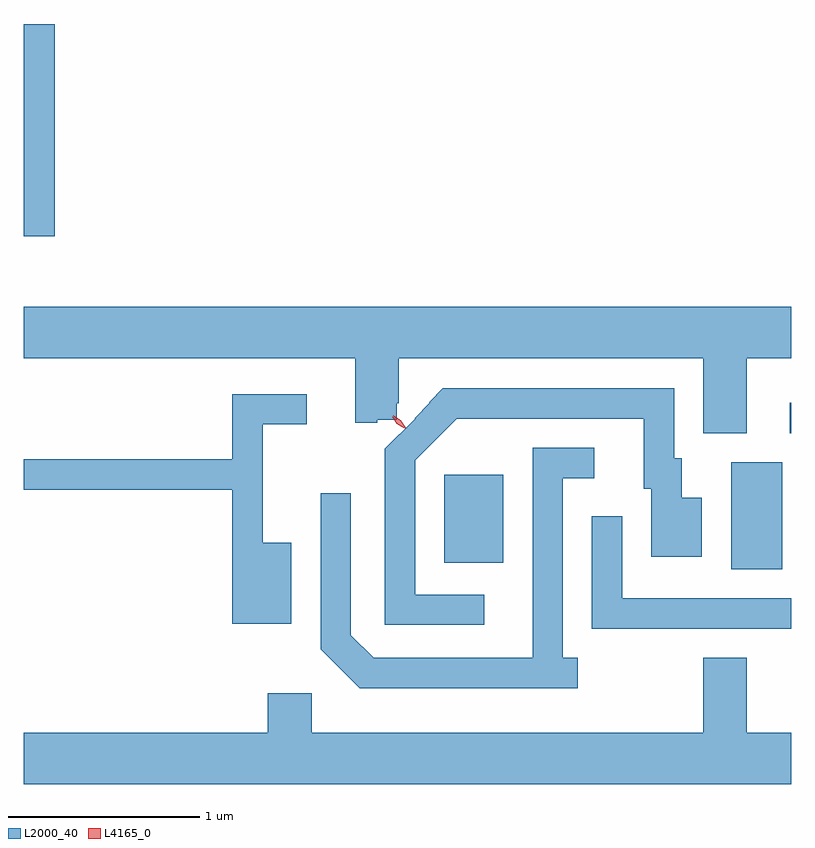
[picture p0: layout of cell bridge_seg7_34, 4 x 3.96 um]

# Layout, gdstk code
import gdstk
lib = gdstk.Library(unit=1e-6, precision=1e-09)
def R(c, l, rs):  # rectangles x0, y0, x1, y1
    for r in rs: c.add(gdstk.rectangle(r[:2], r[2:], *l))
def P(c, l, *ps):  # polygons
    for p in ps: c.add(gdstk.Polygon(p, *l))
L2000_40 = (2000, 40)
L4165_0 = (4165, 0)

bridge_seg7_34 = lib.new_cell('bridge_seg7_34')
R(bridge_seg7_34, L2000_40, [(1730.446,1790.916,1730.714,1791.474), (1728.951,1790.951,1729.259,1791.409), (1730.753,1791.626,1730.759,1791.784), (1726.759,1792.651,1726.919,1793.759)])
P(bridge_seg7_34, L2000_40, [(1730.529,1792.016),(1730.759,1792.016),(1730.759,1792.284),(1726.759,1792.284),(1726.759,1792.016),(1728.486,1792.016),(1728.486,1791.679),(1728.6,1791.679),(1728.6,1791.695),(1728.703,1791.695),(1728.703,1791.782),(1728.714,1791.782),(1728.714,1792.016),(1730.301,1792.016),(1730.301,1791.626),(1730.529,1791.626)],
  [(1729.158,1790.784),(1728.799,1790.784),(1728.799,1791.484),(1729.017,1791.701),(1729.991,1791.701),(1729.991,1791.336),(1730.031,1791.336),(1730.031,1790.981),(1730.294,1790.981),(1730.294,1791.289),(1730.189,1791.289),(1730.189,1791.494),(1730.149,1791.494),(1730.149,1791.859),(1728.944,1791.859),(1728.872,1791.787),(1728.876,1791.783),(1728.797,1791.704),(1728.799,1791.701),(1728.641,1791.543),(1728.641,1790.626),(1729.158,1790.626)],
  [(1728.154,1791.054),(1728.004,1791.054),(1728.004,1791.671),(1728.233,1791.671),(1728.233,1791.829),(1727.846,1791.829),(1727.846,1791.489),(1726.759,1791.489),(1726.759,1791.331),(1727.846,1791.331),(1727.846,1790.631),(1728.154,1790.631)],
  [(1729.648,1790.454),(1729.569,1790.454),(1729.569,1791.391),(1729.733,1791.391),(1729.733,1791.549),(1729.411,1791.549),(1729.411,1790.454),(1728.582,1790.454),(1728.464,1790.572),(1728.464,1791.313),(1728.306,1791.313),(1728.306,1790.499),(1728.509,1790.296),(1729.648,1790.296)],
  [(1730.759,1790.764),(1729.879,1790.764),(1729.879,1791.193),(1729.721,1791.193),(1729.721,1790.606),(1730.759,1790.606)],
  [(1730.759,1790.064),(1730.529,1790.064),(1730.529,1790.454),(1730.301,1790.454),(1730.301,1790.064),(1728.259,1790.064),(1728.259,1790.269),(1728.031,1790.269),(1728.031,1790.064),(1726.759,1790.064),(1726.759,1789.796),(1730.759,1789.796)])
P(bridge_seg7_34, L4165_0, [(1728.748,1791.652),(1728.709,1791.678),(1728.684,1791.717),(1728.684,1791.718),(1728.684,1791.718),(1728.723,1791.692),(1728.749,1791.653),(1728.749,1791.652)],
  [(1728.742,1791.65),(1728.704,1791.674),(1728.68,1791.71),(1728.68,1791.711),(1728.681,1791.711),(1728.718,1791.688),(1728.743,1791.651),(1728.743,1791.65)])

lib.write_gds('bridge_seg7_34.gds')
